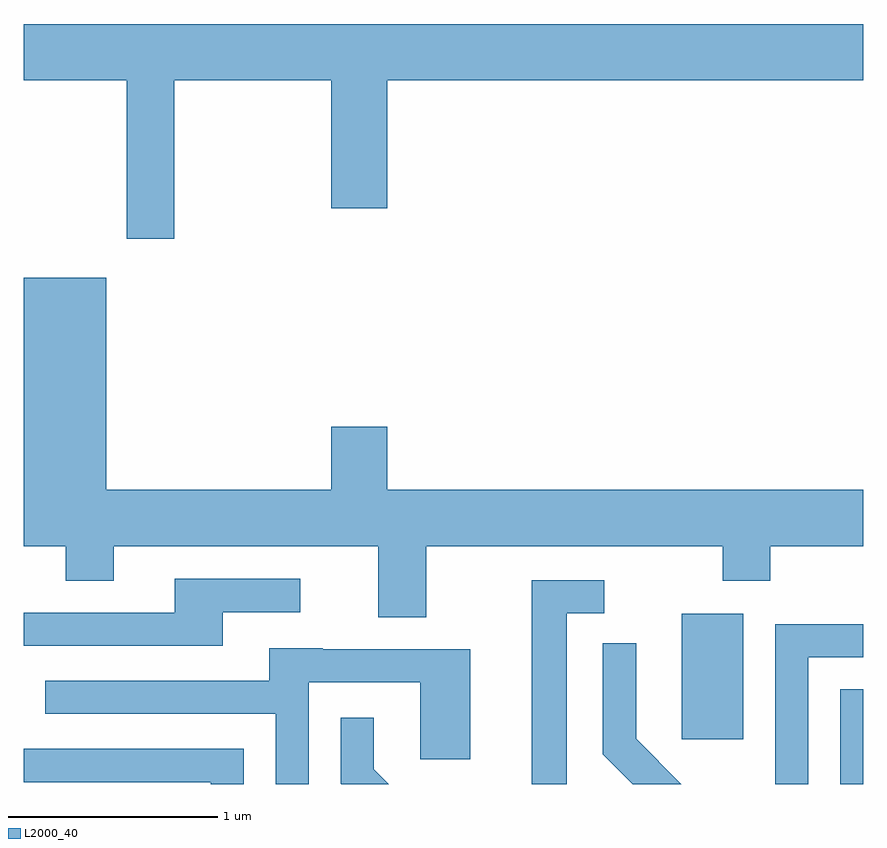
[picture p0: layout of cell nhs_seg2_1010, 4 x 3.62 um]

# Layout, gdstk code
import gdstk
lib = gdstk.Library(unit=1e-6, precision=1e-09)
def R(c, l, rs):  # rectangles x0, y0, x1, y1
    for r in rs: c.add(gdstk.rectangle(r[:2], r[2:], *l))
def P(c, l, *ps):  # polygons
    for p in ps: c.add(gdstk.Polygon(p, *l))
L2000_40 = (2000, 40)

nhs_seg2_1010 = lib.new_cell('nhs_seg2_1010')
R(nhs_seg2_1010, L2000_40, [(217.501,1093.802,217.611,1094.254), (216.746,1094.016,217.039,1094.614)])
P(nhs_seg2_1010, L2000_40, [(214.329,1097.156),(215.076,1097.156),(215.076,1096.546),(215.344,1096.546),(215.344,1097.156),(217.611,1097.156),(217.611,1097.424),(213.611,1097.424),(213.611,1097.156),(214.101,1097.156),(214.101,1096.401),(214.329,1096.401)],
  [(215.529,1094.936),(216.941,1094.936),(216.941,1094.771),(217.169,1094.771),(217.169,1094.936),(217.611,1094.936),(217.611,1095.204),(215.344,1095.204),(215.344,1095.504),(215.076,1095.504),(215.076,1095.204),(214.004,1095.204),(214.004,1096.214),(213.611,1096.214),(213.611,1094.936),(213.811,1094.936),(213.811,1094.771),(214.039,1094.771),(214.039,1094.936),(215.301,1094.936),(215.301,1094.596),(215.529,1094.596)],
  [(214.559,1094.621),(214.928,1094.621),(214.928,1094.779),(214.331,1094.779),(214.331,1094.619),(213.611,1094.619),(213.611,1094.461),(214.559,1094.461)],
  [(216.199,1094.616),(216.378,1094.616),(216.378,1094.774),(216.031,1094.774),(216.031,1093.802),(216.199,1093.802)],
  [(217.349,1094.406),(217.611,1094.406),(217.611,1094.564),(217.191,1094.564),(217.191,1093.802),(217.349,1093.802)],
  [(216.529,1094.017),(216.529,1094.473),(216.371,1094.473),(216.371,1093.944),(216.513,1093.802),(216.744,1093.802)],
  [(214.969,1094.286),(215.501,1094.286),(215.501,1093.921),(215.739,1093.921),(215.739,1094.444),(215.035,1094.444),(215.035,1094.449),(214.781,1094.449),(214.781,1094.294),(213.713,1094.294),(213.713,1094.136),(214.811,1094.136),(214.811,1093.802),(214.969,1093.802)],
  [(215.279,1093.872),(215.279,1094.118),(215.121,1094.118),(215.121,1093.804),(215.123,1093.802),(215.349,1093.802)],
  [(214.659,1093.969),(213.611,1093.969),(213.611,1093.811),(214.501,1093.811),(214.501,1093.802),(214.659,1093.802)])

lib.write_gds('nhs_seg2_1010.gds')
